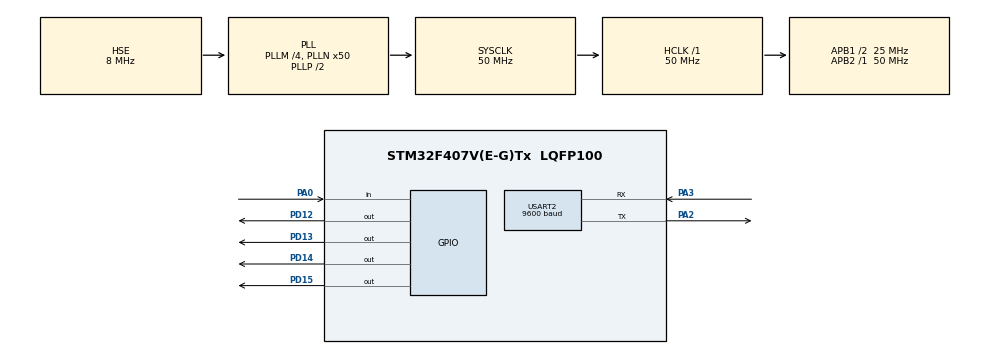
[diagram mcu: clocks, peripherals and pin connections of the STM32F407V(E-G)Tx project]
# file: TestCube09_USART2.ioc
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Mcu.Family=STM32F4
Mcu.Name=STM32F407V(E-G)Tx
Mcu.Package=LQFP100
NVIC.PriorityGroup=NVIC_PRIORITYGROUP_4
NVIC.USART2_IRQn=true\:0\:0\:false\:false\:true\:true\:true
PA0-WKUP.Signal=GPIO_Input
PA2.Mode=Asynchronous
PA2.Signal=USART2_TX
PA3.Mode=Asynchronous
PA3.Signal=USART2_RX
PD12.Signal=GPIO_Output
PD13.Signal=GPIO_Output
PD14.Signal=GPIO_Output
PD15.Signal=GPIO_Output
PH0-OSC_IN.Mode=HSE-External-Oscillator
PH0-OSC_IN.Signal=RCC_OSC_IN
PH1-OSC_OUT.Mode=HSE-External-Oscillator
PH1-OSC_OUT.Signal=RCC_OSC_OUT
ProjectManager.HeapSize=0x200
ProjectManager.StackSize=0x400
ProjectManager.TargetToolchain=MDK-ARM V5
RCC.48MHZClocksFreq_Value=25000000
RCC.AHBFreq_Value=50000000
RCC.APB1CLKDivider=RCC_HCLK_DIV2
RCC.APB1Freq_Value=25000000
RCC.APB1TimFreq_Value=50000000
RCC.APB2Freq_Value=50000000
RCC.APB2TimFreq_Value=50000000
RCC.CortexFreq_Value=50000000
RCC.HCLKFreq_Value=50000000
RCC.HSE_VALUE=8000000
RCC.HSI_VALUE=16000000
RCC.LSE_VALUE=32768
RCC.PLLM=4
RCC.PLLN=50
RCC.PLLSourceVirtual=RCC_PLLSOURCE_HSE
RCC.SYSCLKFreq_VALUE=50000000
RCC.SYSCLKSource=RCC_SYSCLKSOURCE_PLLCLK
RCC.VCOOutputFreq_Value=100000000
USART2.BaudRate=9600
USART2.VirtualMode=VM_ASYNC
board=custom

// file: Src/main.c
/* USER CODE BEGIN Header */
/**
  ******************************************************************************
  * @file           : main.c
  * @brief          : Main program body
  ******************************************************************************
  * @attention
  *
  * <h2><center>&copy; Copyright (c) 2020 STMicroelectronics.
  * All rights reserved.</center></h2>
  *
  * This software component is licensed by ST under BSD 3-Clause license,
  * the "License"; You may not use this file except in compliance with the
  * License. You may obtain a copy of the License at:
  *                        opensource.org/licenses/BSD-3-Clause
  *
  ******************************************************************************
  */
/* USER CODE END Header */

#include "main.h"
#include "stdlib.h"

UART_HandleTypeDef huart2;

void SystemClock_Config(void);
static void MX_GPIO_Init(void);
static void MX_USART2_UART_Init(void);

int main(void)
{
  /* USER CODE BEGIN 1 */

	uint8_t n,k,m;
	int8_t i;
  char *arr;

  n = 156;
  k = n;
  m = 0;

  while(k != 0)
  {
		k = k / 10;
    m++;
  }

	arr = (char*)malloc(m * sizeof(char));

  for(i = m-1; i >= 0; i--)
  {
		arr[i] = n%10 +'0';
    n = n / 10;
  }

	uint8_t str_txt_begin[12] = "t6.txt=\"";
	uint8_t str_txt_end = '\"';

	for (i = 0; i < m; i++)
	{
		str_txt_begin[8+i] = arr[i];
	}

	str_txt_begin[8+m] = str_txt_end;

	uint8_t strend = 0xFF;
  /* USER CODE END 1 */

  /* MCU Configuration--------------------------------------------------------*/

  /* Reset of all peripherals, Initializes the Flash interface and the Systick. */
  HAL_Init();

  /* Configure the system clock */
  SystemClock_Config();

  /* Initialize all configured peripherals */
  MX_GPIO_Init();
  MX_USART2_UART_Init();
  /* USER CODE BEGIN 2 */

 // HAL_UART_Receive_IT(&huart2, transmitBuffer, 32);

  /* USER CODE END 2 */

  /* Infinite loop */
  /* USER CODE BEGIN WHILE */
	//HAL_UART_Receive_IT(&huart1, &data, 1);

  while (1)
  {
    /* USER CODE END WHILE */
		if(HAL_GPIO_ReadPin(GPIOA, GPIO_PIN_0) == GPIO_PIN_SET)
			{
				HAL_UART_Transmit(&huart2,str_txt_begin,12,0xFFFF);
				HAL_UART_Transmit(&huart2,&strend,1,0xFFFF);
				HAL_UART_Transmit(&huart2,&strend,1,0xFFFF);
				HAL_UART_Transmit(&huart2,&strend,1,0xFFFF);
			}
  }
}

void SystemClock_Config(void)
{
  RCC_OscInitTypeDef RCC_OscInitStruct = {0};
  RCC_ClkInitTypeDef RCC_ClkInitStruct = {0};

  /** Configure the main internal regulator output voltage
  */
  __HAL_RCC_PWR_CLK_ENABLE();
  __HAL_PWR_VOLTAGESCALING_CONFIG(PWR_REGULATOR_VOLTAGE_SCALE1);
  /** Initializes the CPU, AHB and APB busses clocks
  */
  RCC_OscInitStruct.OscillatorType = RCC_OSCILLATORTYPE_HSE;
  RCC_OscInitStruct.HSEState = RCC_HSE_ON;
  RCC_OscInitStruct.PLL.PLLState = RCC_PLL_ON;
  RCC_OscInitStruct.PLL.PLLSource = RCC_PLLSOURCE_HSE;
  RCC_OscInitStruct.PLL.PLLM = 4;
  RCC_OscInitStruct.PLL.PLLN = 50;
  RCC_OscInitStruct.PLL.PLLP = RCC_PLLP_DIV2;
  RCC_OscInitStruct.PLL.PLLQ = 4;
  if (HAL_RCC_OscConfig(&RCC_OscInitStruct) != HAL_OK)
  {
    Error_Handler();
  }
  /** Initializes the CPU, AHB and APB busses clocks
  */
  RCC_ClkInitStruct.ClockType = RCC_CLOCKTYPE_HCLK|RCC_CLOCKTYPE_SYSCLK
                              |RCC_CLOCKTYPE_PCLK1|RCC_CLOCKTYPE_PCLK2;
  RCC_ClkInitStruct.SYSCLKSource = RCC_SYSCLKSOURCE_PLLCLK;
  RCC_ClkInitStruct.AHBCLKDivider = RCC_SYSCLK_DIV1;
  RCC_ClkInitStruct.APB1CLKDivider = RCC_HCLK_DIV2;
  RCC_ClkInitStruct.APB2CLKDivider = RCC_HCLK_DIV1;

  if (HAL_RCC_ClockConfig(&RCC_ClkInitStruct, FLASH_LATENCY_1) != HAL_OK)
  {
    Error_Handler();
  }
}

static void MX_USART2_UART_Init(void)
{

  huart2.Instance = USART2;
  huart2.Init.BaudRate = 9600;
  huart2.Init.WordLength = UART_WORDLENGTH_8B;
  huart2.Init.StopBits = UART_STOPBITS_1;
  huart2.Init.Parity = UART_PARITY_NONE;
  huart2.Init.Mode = UART_MODE_TX_RX;
  huart2.Init.HwFlowCtl = UART_HWCONTROL_NONE;
  huart2.Init.OverSampling = UART_OVERSAMPLING_16;
  if (HAL_UART_Init(&huart2) != HAL_OK)
  {
    Error_Handler();
  }

}

static void MX_GPIO_Init(void)
{
  GPIO_InitTypeDef GPIO_InitStruct = {0};

  /* GPIO Ports Clock Enable */
  __HAL_RCC_GPIOH_CLK_ENABLE();
  __HAL_RCC_GPIOA_CLK_ENABLE();
  __HAL_RCC_GPIOD_CLK_ENABLE();

  /*Configure GPIO pin Output Level */
  HAL_GPIO_WritePin(GPIOD, GPIO_PIN_12|GPIO_PIN_13|GPIO_PIN_14|GPIO_PIN_15, GPIO_PIN_RESET);

  /*Configure GPIO pin : PA0 */
  GPIO_InitStruct.Pin = GPIO_PIN_0;
  GPIO_InitStruct.Mode = GPIO_MODE_INPUT;
  GPIO_InitStruct.Pull = GPIO_NOPULL;
  HAL_GPIO_Init(GPIOA, &GPIO_InitStruct);

  /*Configure GPIO pins : PD12 PD13 PD14 PD15 */
  GPIO_InitStruct.Pin = GPIO_PIN_12|GPIO_PIN_13|GPIO_PIN_14|GPIO_PIN_15;
  GPIO_InitStruct.Mode = GPIO_MODE_OUTPUT_PP;
  GPIO_InitStruct.Pull = GPIO_NOPULL;
  GPIO_InitStruct.Speed = GPIO_SPEED_FREQ_LOW;
  HAL_GPIO_Init(GPIOD, &GPIO_InitStruct);

}

void Error_Handler(void)
{
}

/************************ (C) COPYRIGHT STMicroelectronics *****END OF FILE****/
